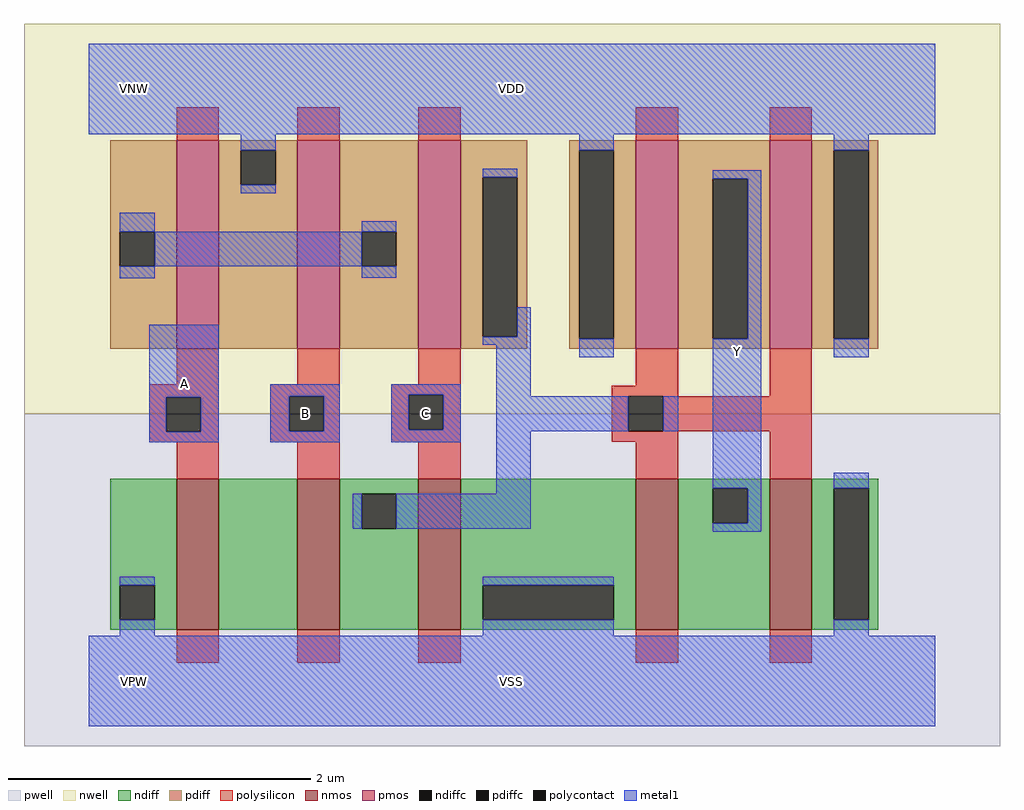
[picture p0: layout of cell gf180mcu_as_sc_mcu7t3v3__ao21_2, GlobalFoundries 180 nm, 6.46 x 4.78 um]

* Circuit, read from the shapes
.subckt gf180mcu_as_sc_mcu7t3v3__ao21_2 VDD VNW VPW VSS Y A B C
XM1 n1 A VSS VPW nfet_03v3 w=1u l=0.28u
XM2 n2 B n1 VPW nfet_03v3 w=1u l=0.28u
XM3 VSS C n2 VPW nfet_03v3 w=1u l=0.28u
XM4 Y n2 VSS VPW nfet_03v3 w=1u l=0.28u m=2
XM5 VDD A n3 VNW pfet_03v3 w=1.38u l=0.28u
XM6 n3 B VDD VNW pfet_03v3 w=1.38u l=0.28u
XM7 n2 C n3 VNW pfet_03v3 w=1.38u l=0.28u
XM8 Y n2 VDD VNW pfet_03v3 w=1.38u l=0.28u m=2
.ends

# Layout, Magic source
magic
tech gf180mcuD
magscale 1 10
<< nwell >>
rect -86 354 1206 870
<< pwell >>
rect -86 -86 1206 354
<< nmos >>
rect 116 68 172 268
rect 276 68 332 268
rect 436 68 492 268
rect 724 68 780 268
rect 901 68 957 268
<< pmos >>
rect 116 440 172 716
rect 276 440 332 716
rect 436 440 492 716
rect 724 440 780 716
rect 901 440 957 716
<< ndiff >>
rect 28 127 116 268
rect 28 81 41 127
rect 87 81 116 127
rect 28 68 116 81
rect 172 68 276 268
rect 332 248 436 268
rect 332 202 361 248
rect 407 202 436 248
rect 332 68 436 202
rect 492 127 724 268
rect 492 81 521 127
rect 695 81 724 127
rect 492 68 724 81
rect 780 255 901 268
rect 780 209 826 255
rect 872 209 901 255
rect 780 68 901 209
rect 957 255 1045 268
rect 957 81 986 255
rect 1032 81 1045 255
rect 957 68 1045 81
<< pdiff >>
rect 28 595 116 716
rect 28 549 41 595
rect 87 549 116 595
rect 28 440 116 549
rect 172 703 276 716
rect 172 657 201 703
rect 247 657 276 703
rect 172 440 276 657
rect 332 595 436 716
rect 332 549 361 595
rect 407 549 436 595
rect 332 440 436 549
rect 492 667 580 716
rect 492 456 521 667
rect 567 456 580 667
rect 492 440 580 456
rect 636 703 724 716
rect 636 453 649 703
rect 695 453 724 703
rect 636 440 724 453
rect 780 665 901 716
rect 780 453 826 665
rect 872 453 901 665
rect 780 440 901 453
rect 957 703 1045 716
rect 957 453 986 703
rect 1032 453 1045 703
rect 957 440 1045 453
<< ndiffc >>
rect 41 81 87 127
rect 361 202 407 248
rect 521 81 695 127
rect 826 209 872 255
rect 986 81 1032 255
<< pdiffc >>
rect 41 549 87 595
rect 201 657 247 703
rect 361 549 407 595
rect 521 456 567 667
rect 649 453 695 703
rect 826 453 872 665
rect 986 453 1032 703
<< polysilicon >>
rect 116 716 172 760
rect 276 716 332 760
rect 436 716 492 760
rect 724 716 780 760
rect 901 716 957 760
rect 116 393 172 440
rect 276 393 332 440
rect 436 393 492 440
rect 80 376 172 393
rect 80 330 102 376
rect 148 330 172 376
rect 80 316 172 330
rect 240 377 332 393
rect 240 331 265 377
rect 311 331 332 377
rect 240 316 332 331
rect 400 379 492 393
rect 724 391 780 440
rect 400 333 423 379
rect 469 333 492 379
rect 400 316 492 333
rect 692 377 780 391
rect 901 377 957 440
rect 692 331 714 377
rect 760 331 957 377
rect 692 317 780 331
rect 116 268 172 316
rect 276 268 332 316
rect 436 268 492 316
rect 724 268 780 317
rect 901 268 957 331
rect 116 24 172 68
rect 276 24 332 68
rect 436 24 492 68
rect 724 24 780 68
rect 901 24 957 68
<< polycontact >>
rect 102 330 148 376
rect 265 331 311 377
rect 423 333 469 379
rect 714 331 760 377
<< metal1 >>
rect 0 724 1120 844
rect 201 703 247 724
rect 649 703 695 724
rect 201 646 247 657
rect 521 667 567 678
rect 41 595 87 620
rect 361 595 407 609
rect 87 549 361 595
rect 41 533 87 549
rect 361 534 407 549
rect 80 376 172 472
rect 567 456 585 495
rect 521 445 585 456
rect 80 330 102 376
rect 148 330 172 376
rect 80 316 172 330
rect 240 377 332 393
rect 240 331 265 377
rect 311 331 332 377
rect 240 316 332 331
rect 400 379 492 393
rect 400 333 423 379
rect 469 333 492 379
rect 400 316 492 333
rect 539 377 585 445
rect 986 703 1032 724
rect 649 429 695 453
rect 826 665 890 676
rect 872 453 890 665
rect 539 331 714 377
rect 760 331 780 377
rect 539 248 585 331
rect 349 202 361 248
rect 407 202 585 248
rect 826 255 890 453
rect 986 429 1032 453
rect 872 209 890 255
rect 826 198 890 209
rect 986 255 1032 276
rect 41 127 87 138
rect 41 60 87 81
rect 521 127 695 138
rect 521 60 695 81
rect 986 60 1032 81
rect 0 -60 1120 60
<< labels >>
flabel metal1 s 0 724 1120 844 0 FreeSans 400 0 0 0 VDD
port 1 nsew power bidirectional abutment
flabel metal1 s 0 -60 1120 60 0 FreeSans 400 0 0 0 VSS
port 4 nsew ground bidirectional abutment
flabel nwell s 10 734 110 834 0 FreeSans 400 0 0 0 VNW
port 2 nsew power bidirectional
flabel pwell s 10 -50 110 50 0 FreeSans 400 0 0 0 VPW
port 3 nsew ground bidirectional
flabel metal1 826 198 890 676 0 FreeSans 200 0 0 0 Y
port 5 nsew signal output
flabel metal1 80 316 172 472 0 FreeSans 200 0 0 0 A
port 6 nsew signal input
flabel metal1 240 316 332 393 0 FreeSans 200 0 0 0 B
port 7 nsew signal input
flabel metal1 400 316 492 393 0 FreeSans 200 0 0 0 C
port 8 nsew signal input
<< properties >>
string FIXED_BBOX 0 0 1120 784
string LEFclass CORE
string LEFsite unithd
string LEFsymmetry X Y
string MASKHINTS_NPLUS -16 -46 1136 354
string MASKHINTS_PPLUS -16 354 1136 830
<< end >>
